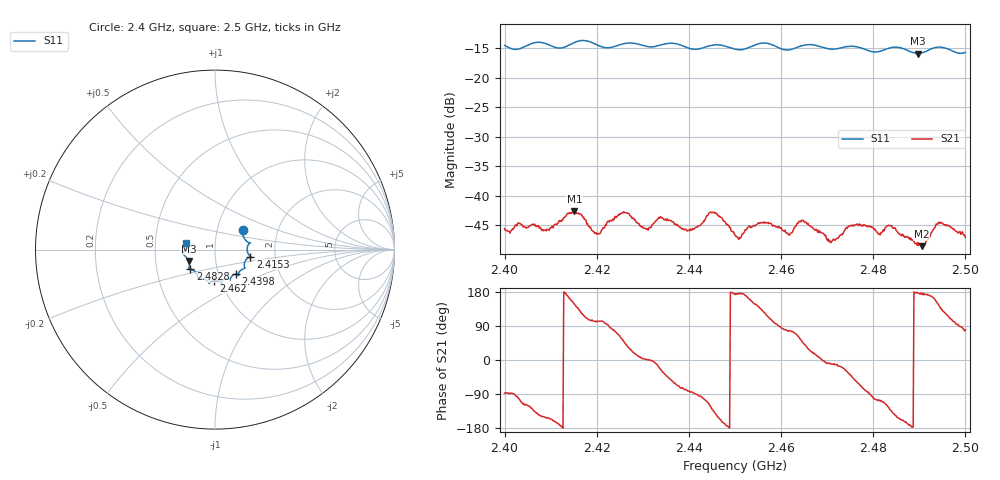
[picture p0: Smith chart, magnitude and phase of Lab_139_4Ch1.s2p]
# Hz S RI R 50
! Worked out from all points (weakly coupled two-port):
!   601 points, 2.4 GHz to 2.5 GHz, reference 50 ohm
!   highest |S21| = -42.66 dB at 2.4152 GHz (marker M1); lowest = -48.6 dB at 2.4905 GHz (marker M2)
!   lowest |S11| = -15.9 dB at 2.4897 GHz (marker M3), VSWR 1.38, Z = 36.9 - j4.82 ohm
!   |S11| at or under -10 dB: start of sweep to end of sweep
!   S12 and S22 are empty: the file has one direction only
!   S11 on the Smith chart (normalised r, x): 2.4 GHz: 1.33, +0.29; 2.4153 GHz: 1.48, -0.12; 2.4398 GHz: 1.21, -0.34; 2.462 GHz: 0.93, -0.33; 2.4828 GHz: 0.74, -0.17; 2.5 GHz: 0.72, +0.06
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2.4e9  0.1548 0.1067  0.000216 -0.00524  0 0  0 0
2.409167e9  0.1906 0.0332  -0.00464 -0.0023  0 0  0 0
2.415167e9  0.1956 -0.0377  -0.00618 0.004  0 0  0 0
2.415333e9  0.1967 -0.0387  -0.00589 0.00421  0 0  0 0
2.416667e9  0.2025 -0.0428  -0.00383 0.00575  0 0  0 0
2.420167e9  0.1833 -0.0468  -0.000935 0.00467  0 0  0 0
2.4255e9  0.1658 -0.0992  0.00407 0.00589  0 0  0 0
2.430667e9  0.1465 -0.1131  0.00527 0.00021  0 0  0 0
2.433333e9  0.131 -0.1336  0.00614 -0.00181  0 0  0 0
2.439833e9  0.1154 -0.1365  0.00067 -0.00506  0 0  0 0
2.445e9  0.0842 -0.1686  -0.00458 -0.00549  0 0  0 0
2.45e9  0.065 -0.1625  -0.00462 0.000423  0 0  0 0
2.456e9  0.0383 -0.1931  -0.00374 0.00454  0 0  0 0
2.462e9  -0.00509 -0.173  0.00111 0.00465  0 0  0 0
2.466667e9  -0.0341 -0.1877  0.00502 0.00198  0 0  0 0
2.470833e9  -0.0564 -0.1656  0.00393 -0.000741  0 0  0 0
2.482833e9  -0.1366 -0.1096  -0.0025 -0.00482  0 0  0 0
2.483333e9  -0.1403 -0.1092  -0.00317 -0.00461  0 0  0 0
2.489667e9  -0.1474 -0.0636  -0.004 0.000183  0 0  0 0
2.4905e9  -0.1539 -0.0519  -0.00371 0.000398  0 0  0 0
2.4945e9  -0.1808 -0.0213  -0.0044 0.00378  0 0  0 0
2.5e9  -0.1595 0.0392  0.000838 0.00435  0 0  0 0
